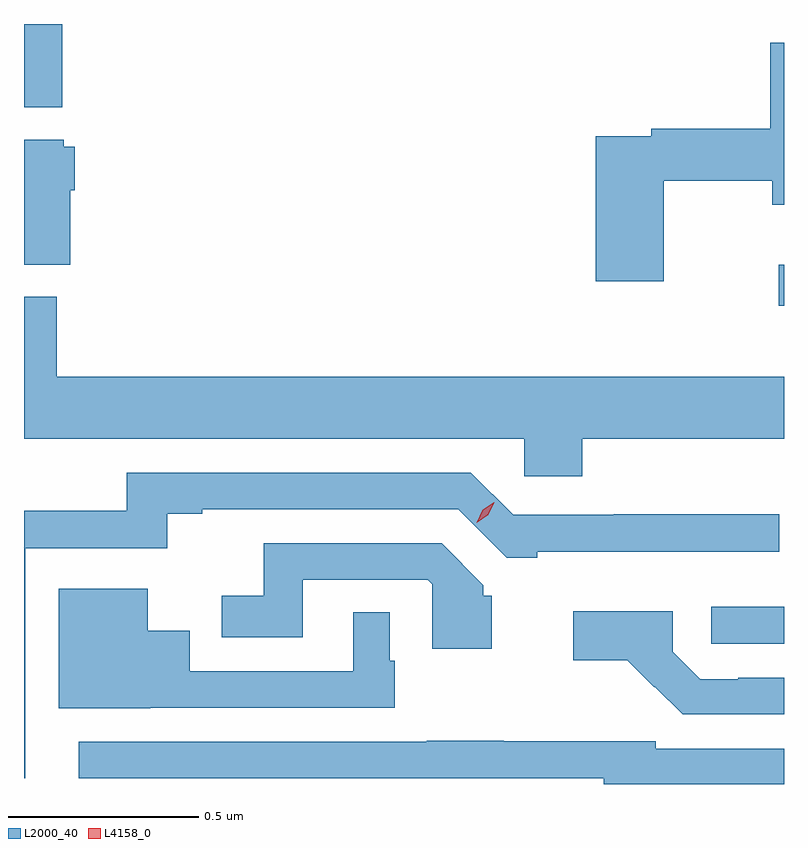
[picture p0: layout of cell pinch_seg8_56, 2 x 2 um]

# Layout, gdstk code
import gdstk
lib = gdstk.Library(unit=1e-6, precision=1e-09)
def R(c, l, rs):  # rectangles x0, y0, x1, y1
    for r in rs: c.add(gdstk.rectangle(r[:2], r[2:], *l))
def P(c, l, *ps):  # polygons
    for p in ps: c.add(gdstk.Polygon(p, *l))
L2000_40 = (2000, 40)
L4158_0 = (4158, 0)

pinch_seg8_56 = lib.new_cell('pinch_seg8_56')
R(pinch_seg8_56, L2000_40, [(939.528,1109.301,939.719,1109.398), (939.705,1110.191,939.719,1110.298), (937.719,1110.713,937.82,1110.932)])
P(pinch_seg8_56, L2000_40, [(939.402,1110.52),(939.688,1110.52),(939.688,1110.456),(939.719,1110.456),(939.719,1110.883),(939.683,1110.883),(939.683,1110.656),(939.37,1110.656),(939.37,1110.636),(939.224,1110.636),(939.224,1110.255),(939.402,1110.255)],
  [(937.841,1110.495),(937.853,1110.495),(937.853,1110.609),(937.824,1110.609),(937.824,1110.628),(937.719,1110.628),(937.719,1110.299),(937.841,1110.299)],
  [(939.188,1109.84),(939.719,1109.84),(939.719,1110.004),(937.805,1110.004),(937.805,1110.214),(937.719,1110.214),(937.719,1109.84),(939.036,1109.84),(939.036,1109.742),(939.188,1109.742)],
  [(937.722,1109.553),(938.096,1109.553),(938.096,1109.643),(938.188,1109.643),(938.188,1109.655),(938.862,1109.655),(938.989,1109.528),(939.07,1109.528),(939.07,1109.543),(939.706,1109.543),(939.706,1109.642),(939.271,1109.642),(939.271,1109.64),(939.006,1109.64),(938.895,1109.751),(937.99,1109.751),(937.99,1109.651),(937.719,1109.651),(937.719,1108.947),(937.722,1108.947)],
  [(938.95,1109.427),(938.928,1109.427),(938.928,1109.455),(938.818,1109.565),(938.35,1109.565),(938.35,1109.428),(938.24,1109.428),(938.24,1109.318),(938.452,1109.318),(938.452,1109.469),(938.781,1109.469),(938.793,1109.458),(938.793,1109.288),(938.95,1109.288)],
  [(938.051,1109.133),(938.695,1109.133),(938.695,1109.256),(938.682,1109.256),(938.682,1109.384),(938.585,1109.384),(938.585,1109.229),(938.155,1109.229),(938.155,1109.335),(938.044,1109.335),(938.044,1109.446),(937.811,1109.446),(937.811,1109.132),(938.051,1109.132)],
  [(939.719,1109.211),(939.598,1109.211),(939.598,1109.208),(939.498,1109.208),(939.426,1109.28),(939.426,1109.386),(939.165,1109.386),(939.165,1109.258),(939.306,1109.258),(939.378,1109.187),(939.379,1109.188),(939.452,1109.115),(939.719,1109.115)],
  [(939.719,1109.025),(939.381,1109.025),(939.381,1109.045),(938.981,1109.045),(938.981,1109.046),(938.779,1109.046),(938.779,1109.043),(937.863,1109.043),(937.863,1108.947),(939.245,1108.947),(939.245,1108.932),(939.719,1108.932)])
P(pinch_seg8_56, L4158_0, [(938.91,1109.62),(938.91,1109.62),(938.926,1109.654),(938.957,1109.674),(938.957,1109.674),(938.957,1109.674),(938.941,1109.641),(938.91,1109.62)])

lib.write_gds('pinch_seg8_56.gds')
